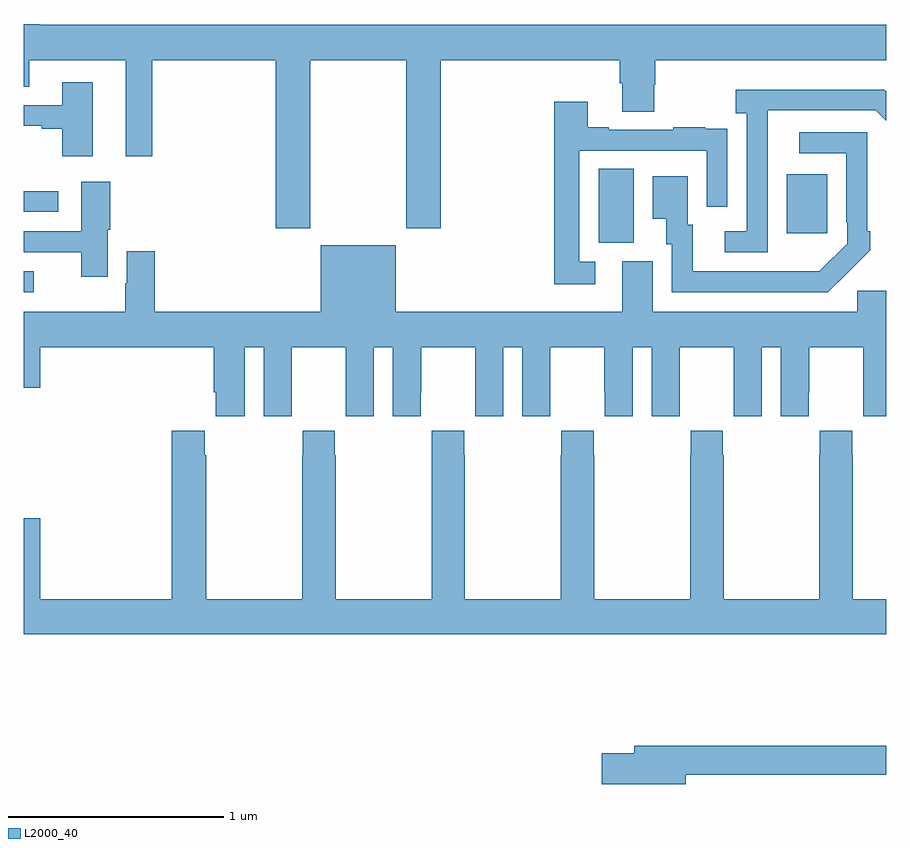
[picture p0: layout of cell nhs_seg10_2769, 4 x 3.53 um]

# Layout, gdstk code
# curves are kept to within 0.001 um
import gdstk
lib = gdstk.Library(unit=1e-6, precision=1e-09)
def R(c, l, rs):  # rectangles x0, y0, x1, y1
    for r in rs: c.add(gdstk.rectangle(r[:2], r[2:], *l))
def P(c, l, *ps):  # polygons
    for p in ps: c.add(gdstk.Polygon(p, *l))
L2000_40 = (2000, 40)

nhs_seg10_2769 = lib.new_cell('nhs_seg10_2769')
R(nhs_seg10_2769, L2000_40, [(261,1283.256,261.046,1283.352), (263.666,1283.485,263.83,1283.828), (264.539,1283.529,264.727,1283.803), (261,1283.628,261.16,1283.725)])
P(nhs_seg10_2769, L2000_40, [(262.329,1284.332),(262.774,1284.332),(262.774,1283.553),(262.934,1283.553),(262.934,1284.332),(263.765,1284.332),(263.765,1284.226),(263.777,1284.226),(263.777,1284.094),(263.925,1284.094),(263.925,1284.219),(263.93,1284.219),(263.93,1284.332),(265,1284.332),(265,1284.496),(261.076,1284.496),(261.076,1284.5),(261,1284.5),(261,1284.208),(261.025,1284.208),(261.025,1284.332),(261.473,1284.332),(261.473,1283.886),(261.595,1283.886),(261.595,1284.332),(262.169,1284.332),(262.169,1283.553),(262.329,1283.553)],
  [(261.319,1284.229),(261.179,1284.229),(261.179,1284.123),(261,1284.123),(261,1284.027),(261.083,1284.027),(261.083,1284.015),(261.179,1284.015),(261.179,1283.886),(261.319,1283.886)],
  [(264.45,1283.899),(264.451,1284.099),(264.951,1284.099),(265,1284.05),(265,1284.188),(264.992,1284.196),(264.303,1284.196),(264.303,1284.086),(264.354,1284.086),(264.354,1283.538),(264.252,1283.538),(264.252,1283.442),(264.45,1283.442)],
  [(263.65,1283.397),(263.577,1283.397),(263.577,1283.913),(264.168,1283.913),(264.168,1283.652),(264.264,1283.652),(264.264,1283.906),(264.263,1283.906),(264.263,1284.015),(264.161,1284.015),(264.161,1284.022),(264.013,1284.022),(264.013,1284.009),(263.713,1284.009),(263.713,1284.022),(263.617,1284.022),(263.617,1284.139),(263.461,1284.139),(263.461,1283.292),(263.65,1283.292)],
  [(264.821,1283.347),(264.822,1283.346),(264.927,1283.451),(264.927,1283.539),(264.912,1283.539),(264.912,1283.997),(264.597,1283.997),(264.597,1283.901),(264.816,1283.901),(264.816,1283.581),(264.819,1283.581),(264.819,1283.481),(264.691,1283.353),(264.103,1283.352),(264.103,1283.568),(264.079,1283.568),(264.079,1283.794),(263.918,1283.794),(263.918,1283.597),(263.981,1283.597),(263.981,1283.478),(264.006,1283.478),(264.006,1283.256),(264.73,1283.256)],
  [(261.388,1283.545),(261.401,1283.545),(261.401,1283.767),(261.266,1283.767),(261.266,1283.538),(261,1283.538),(261,1283.442),(261.266,1283.442),(261.266,1283.328),(261.388,1283.328)],
  [(262.024,1283),(262.112,1283),(262.112,1282.68),(262.242,1282.68),(262.242,1282.792),(262.243,1282.792),(262.243,1283),(262.493,1283),(262.493,1282.792),(262.494,1282.792),(262.494,1282.68),(262.624,1282.68),(262.624,1283),(262.712,1283),(262.712,1282.68),(262.842,1282.68),(262.842,1282.792),(262.843,1282.792),(262.843,1283),(263.093,1283),(263.093,1282.792),(263.094,1282.792),(263.094,1282.68),(263.224,1282.68),(263.224,1283),(263.312,1283),(263.312,1282.68),(263.442,1282.68),(263.442,1282.792),(263.443,1282.792),(263.443,1283),(263.693,1283),(263.693,1282.792),(263.694,1282.792),(263.694,1282.68),(263.824,1282.68),(263.824,1283),(263.912,1283),(263.912,1282.68),(264.042,1282.68),(264.042,1282.792),(264.043,1282.792),(264.043,1283),(264.293,1283),(264.293,1282.792),(264.294,1282.792),(264.294,1282.68),(264.424,1282.68),(264.424,1283),(264.512,1283),(264.512,1282.68),(264.642,1282.68),(264.642,1282.792),(264.643,1282.792),(264.643,1283),(264.893,1283),(264.893,1282.792),(264.894,1282.792),(264.894,1282.68),(265,1282.68),(265,1283.262),(264.867,1283.262),(264.867,1283.164),(263.917,1283.164),(263.917,1283.4),(263.777,1283.4),(263.777,1283.164),(262.726,1283.164),(262.726,1283.473),(262.376,1283.473),(262.376,1283.164),(261.608,1283.164),(261.608,1283.446),(261.476,1283.446),(261.476,1283.297),(261.469,1283.297),(261.469,1283.164),(261,1283.164),(261,1282.812),(261.076,1282.812),(261.076,1283),(261.881,1283),(261.881,1282.792),(261.89,1282.792),(261.89,1282.68),(262.024,1282.68)],
  [(265,1281.832),(264.846,1281.832),(264.846,1282.499),(264.843,1282.499),(264.843,1282.612),(264.693,1282.612),(264.693,1282.499),(264.691,1282.499),(264.691,1281.832),(264.246,1281.832),(264.246,1282.499),(264.243,1282.499),(264.243,1282.612),(264.093,1282.612),(264.093,1282.499),(264.091,1282.499),(264.091,1281.832),(263.646,1281.832),(263.646,1282.499),(263.643,1282.499),(263.643,1282.612),(263.493,1282.612),(263.493,1282.499),(263.491,1282.499),(263.491,1281.832),(263.046,1281.832),(263.046,1282.499),(263.043,1282.499),(263.043,1282.612),(262.893,1282.612),(262.893,1282.499),(262.891,1282.499),(262.891,1281.832),(262.446,1281.832),(262.446,1282.499),(262.443,1282.499),(262.443,1282.612),(262.293,1282.612),(262.293,1282.499),(262.291,1282.499),(262.291,1281.832),(261.846,1281.832),(261.846,1282.499),(261.839,1282.499),(261.839,1282.612),(261.686,1282.612),(261.686,1281.832),(261.076,1281.832),(261.076,1282.207),(261,1282.207),(261,1281.668),(265,1281.668)],
  [(264.07,1281.016),(265,1281.016),(265,1281.152),(263.831,1281.152),(263.831,1281.116),(263.682,1281.116),(263.682,1280.974),(264.07,1280.974)])

lib.write_gds('nhs_seg10_2769.gds')
